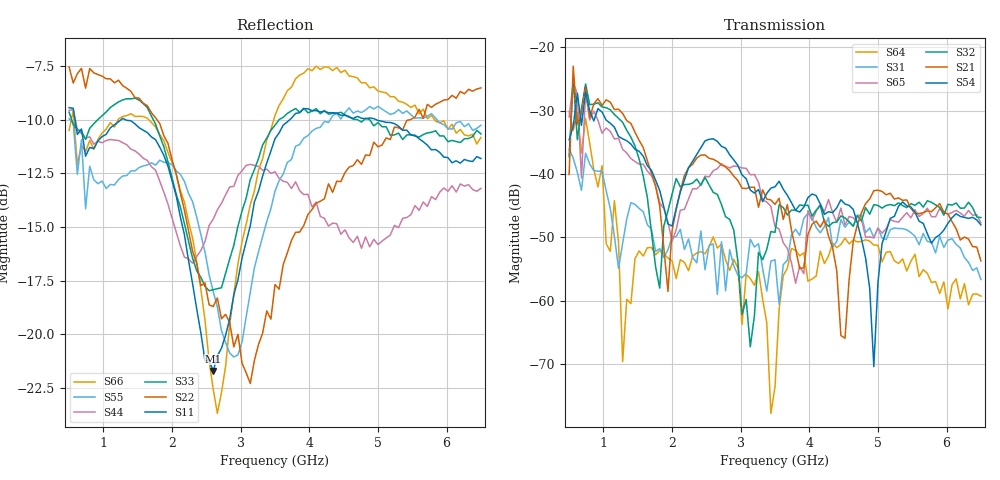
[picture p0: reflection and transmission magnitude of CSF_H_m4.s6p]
!Keysight Technologies,M9804A,MY58100912,A.14.10.03
!Date: Thursday, April 27, 2023 10:28:33
!Correction: S11(C  6-Port  )
!S12(C  6-Port  )
!S13(C  6-Port  )
!S14(C  6-Port  )
!S15(C  6-Port  )
!S16(C  6-Port  )
!S21(C  6-Port  )
!S22(C  6-Port  )
!S23(C  6-Port  )
!S24(C  6-Port  )
!S25(C  6-Port  )
!S26(C  6-Port  )
!S31(C  6-Port  )
!S32(C  6-Port  )
!S33(C  6-Port  )
!S34(C  6-Port  )
!S35(C  6-Port  )
!S36(C  6-Port  )
!S41(C  6-Port  )
!S42(C  6-Port  )
!S43(C  6-Port  )
!S44(C  6-Port  )
!S45(C  6-Port  )
!S46(C  6-Port  )
!S51(C  6-Port  )
!S52(C  6-Port  )
!S53(C  6-Port  )
!S54(C  6-Port  )
!S55(C  6-Port  )
!S56(C  6-Port  )
!S61(C  6-Port  )
!S62(C  6-Port  )
!S63(C  6-Port  )
!S64(C  6-Port  )
!S65(C  6-Port  )
!S66(C  6-Port  )
!S6P File: Measurement: :
# Hz S  RI  R 50
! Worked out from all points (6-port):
!   101 points, 500 MHz to 6.5 GHz, reference 50 ohm
!   strongest paths, dB at 500 MHz, 2 GHz, 3.5 GHz, 5 GHz, 6.5 GHz:
!     S54: -34.6, -48.2, -42.0, -57.2, -48.0
!     S21: -40.1, -48.9, -44.8, -42.6, -53.7
!     S32: -37.3, -43.2, -49.2, -45.0, -46.9
!     S65: -31.0, -50.7, -48.3, -48.5, -47.7
!     S31: -36.1, -50.0, -53.5, -48.5, -56.7
!     S64: -30.1, -53.7, -73.6, -51.3, -59.3
!   lowest |S11| = -21.7 dB at 2.6 GHz (marker M1), VSWR 1.18, Z = 42.7 + j1.98 ohm
!   |S11| at or under -10 dB: 585.7 MHz to 1.26 GHz (673.9 MHz wide, 73 % of centre); 1.316 GHz to 3.717 GHz (2.402 GHz wide, 95.4 % of centre); 4.969 GHz to end of sweep
